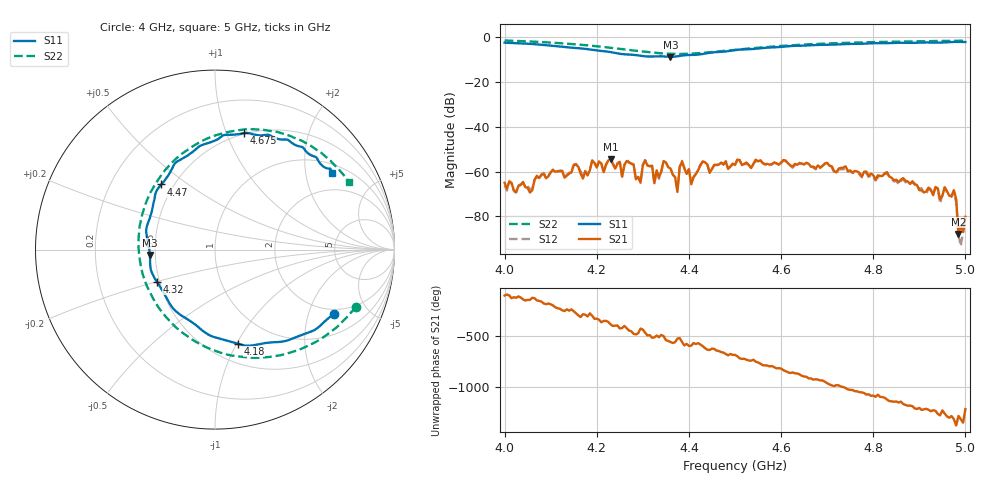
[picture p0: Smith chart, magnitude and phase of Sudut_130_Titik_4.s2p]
# Hz S RI R 50
! CMT, C1220, 16058040, 17.2.0/1
! Date: 15/08/2018 12:29:16
! Data: Format (Calibration Info)
! Freq  S11: Re/Im (F2)  S21: Re/Im (F2)  S12: Re/Im (F2)  S22: Re/Im (F2)
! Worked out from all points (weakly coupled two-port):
!   201 points, 4 GHz to 5 GHz, reference 50 ohm
!   highest |S21| = -54.54 dB at 4.23 GHz (marker M1); lowest = -87.9 dB at 4.985 GHz (marker M2)
!   lowest |S11| = -8.8 dB at 4.36 GHz (marker M3), VSWR 2.14, Z = 23.4 - j1.62 ohm
!   |S11| at or under -10 dB: nowhere
!   |S22| runs from -7.5 to -1.5 dB; largest |S21 - S12| = 0.00015
!   S11 on the Smith chart (normalised r, x): 4 GHz: 1.80, -2.97; 4.18 GHz: 0.68, -1.01; 4.32 GHz: 0.48, -0.20; 4.47 GHz: 0.43, +0.40; 4.675 GHz: 0.49, +1.15; 5 GHz: 1.29, +2.82
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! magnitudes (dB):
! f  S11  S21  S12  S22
! 4 GHz  -2.5  -65.0  -66.1  -1.5
! 4.17 GHz  -5.1  -63.1  -62.4  -3.5
! 4.18 GHz  -5.4  -61.7  -61.0  -3.6
! 4.23 GHz  -6.7  -54.5  -54.3  -4.7
! 4.295 GHz  -8.3  -64.8  -65.1  -6.3
! 4.305 GHz  -8.6  -55.0  -54.9  -6.5
! 4.32 GHz  -8.6  -57.4  -57.3  -6.9
! 4.335 GHz  -8.5  -62.7  -63.2  -7.1
! 4.36 GHz  -8.8  -58.6  -58.5  -7.4
! 4.375 GHz  -8.5  -69.1  -68.0  -7.5
! 4.385 GHz  -8.2  -55.5  -55.2  -7.5
! 4.405 GHz  -7.9  -65.7  -65.2  -7.3
! 4.43 GHz  -7.5  -55.5  -55.5  -7.0
! 4.47 GHz  -6.5  -56.0  -56.0  -6.3
! 4.5 GHz  -5.8  -57.1  -57.0  -5.6
! 4.67 GHz  -3.6  -57.8  -58.2  -3.1
! 4.675 GHz  -3.5  -58.6  -59.0  -3.0
! 4.835 GHz  -2.7  -62.2  -62.3  -2.0
! 4.945 GHz  -2.4  -72.3  -74.2  -1.7
! 4.975 GHz  -2.1  -68.3  -69.4  -1.6
! 4.985 GHz  -2.1  -87.9  -88.4  -1.6
! 5 GHz  -2.2  -80.2  -82.1  -1.6
